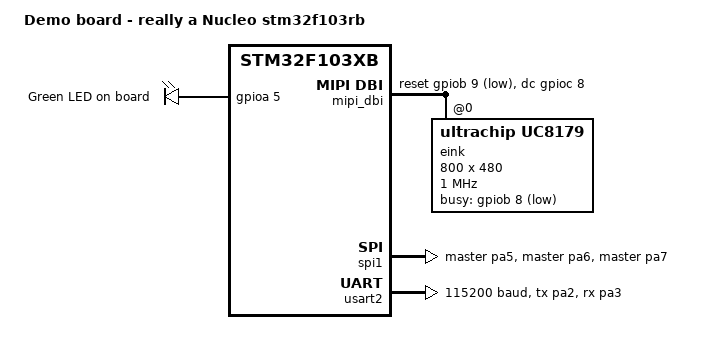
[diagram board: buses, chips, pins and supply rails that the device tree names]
/dts-v1/;

#include <st/f1/stm32f103Xb.dtsi>
#include <st/f1/stm32f103r(8-b)tx-pinctrl.dtsi>


/ {
  model = "Demo board - really a Nucleo stm32f103rb";
  compatible = "ar,zeph_demo";

  chosen {
   		zephyr,console = &usart2;
		zephyr,shell-uart = &usart2;
    		zephyr,sram = &sram0;
		zephyr,flash = &flash0;
    zephyr,display = &eink;
  };
 
  leds {
    compatible = "gpio-leds";
    green_led: led_child1 {
      gpios = <&gpioa 5 GPIO_ACTIVE_HIGH>;
      label = "Green LED on board";
    };
  };

  mipi_dbi {
    compatible = "zephyr,mipi-dbi-spi";
    spi-dev = <&spi1>;
    reset-gpios = <&gpiob 9 GPIO_ACTIVE_LOW>;
    dc-gpios = <&gpioc 8 GPIO_ACTIVE_HIGH>;
    write-only;
    #address-cells = <1>;
    #size-cells = <0>;
    eink: uc8719@0 {
      compatible = "ultrachip,uc8179";
      busy-gpios = <&gpiob 8 GPIO_ACTIVE_LOW>;
      duplex = <2048>; // half duplex.
      reg = <0x0>;
      mipi-max-frequency = <1000000>;
      mipi-mode = "MIPI_DBI_MODE_SPI_4WIRE";
      softstart = [27 27 2F 17];
			width = <800>;
			height = <480>;

      full {
				pwr = [17 17 3F 3F 11];
        vdcs = <0x24>;
        pll = <0x06>;
				//cdi = <0x10>;
				//t_c_o_n = <0x22>;

        lutc = [00 0F 0F 00 00 01 
                00 0F 01 0F 01 02 
                00 0F 0F 00 00 01 
                00 00 00 00 00 00 
                00 00 00 00 00 00 
                00 00 00 00 00 00 
                00 00 00 00 00 00];
        lutww = [10 0F 0F 00 00 01 
                  84 0F 01 0F 01 02 
                  20 0F 0F 00 00 01 
                  00 00 00 00 00 00 
                  00 00 00 00 00 00 
                  00 00 00 00 00 00 
                  00 00 00 00 00 00];
        lutkw = [10  0F  0F  00  00  01  
                84  0F  01  0F  01  02  
                20  0F  0F  00  00  01  
                00  00  00  00  00  00  
                00  00  00  00  00  00  
                00  00  00  00  00  00  
                00  00  00  00  00  00];
        lutwk = [80 0F 0F 00 00 01 
                84 0F 01 0F 01 02 
                40 0F 0F 00 00 01 
                00 00 00 00 00 00 
                00 00 00 00 00 00 
                00 00 00 00 00 00 
                00 00 00 00 00 00];
        lutkk = [80 0F 0F 00 00 01 
                  84 0F 01 0F 01 02 
                  40 0F 0F 00 00 01 
                  00 00 00 00 00 00 
                  00 00 00 00 00 00 
                  00 00 00 00 00 00 
                  00 00 00 00 00 00];

			};

    };
  };

  aliases {
     led0 = &green_led;
  };

};

&spi1 {
	pinctrl-0 = <&spi1_sck_master_pa5 &spi1_miso_master_pa6 &spi1_mosi_master_pa7>;
	pinctrl-names = "default";
	cs-gpios = <&gpiob 6 (GPIO_ACTIVE_LOW | GPIO_PULL_UP)>;
	status = "okay";
};


// From the SoC include...

&clk_hsi {
	status = "okay";
};

&rcc {
  clocks = <&clk_hsi>;
  clock-frequency = <DT_FREQ_M(8)>;
  ahb-prescaler = <1>;
	apb1-prescaler = <1>;
	apb2-prescaler = <1>;
	adc-prescaler = <2>;
};

&usart2 {
  pinctrl-0 = <&usart2_tx_pa2 &usart2_rx_pa3>;
  pinctrl-names = "default";
  current-speed = <115200>;
  status="okay";
};

